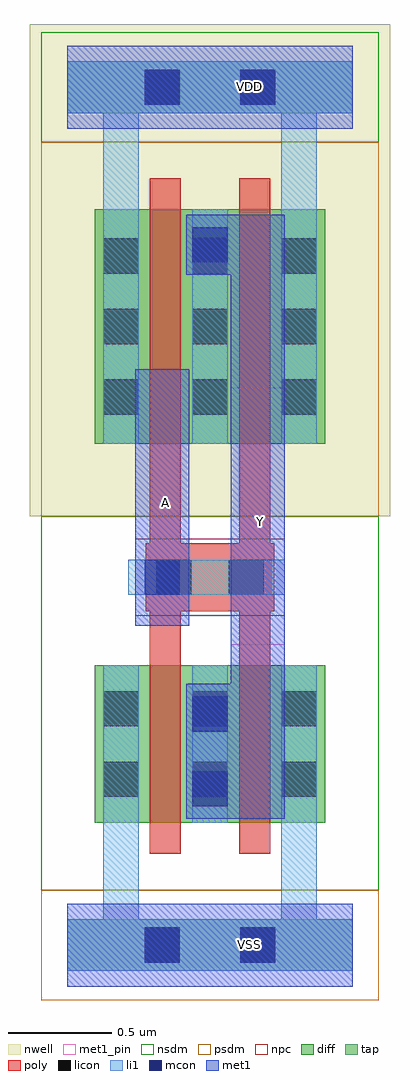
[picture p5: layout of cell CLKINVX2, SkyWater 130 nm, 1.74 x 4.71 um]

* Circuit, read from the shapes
.subckt CLKINVX2 A VDD VSS Y
XM1 Y A VSS VSS sky130_fd_pr__nfet_01v8 w=0.76 l=0.15 m=2
XM2 Y A VDD VDD sky130_fd_pr__pfet_01v8 w=1.13 l=0.15 m=2
.ends

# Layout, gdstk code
import gdstk
lib = gdstk.Library(unit=1e-6, precision=1e-09)
def R(c, l, rs):  # rectangles x0, y0, x1, y1
    for r in rs: c.add(gdstk.rectangle(r[:2], r[2:], *l))
def A(c, l, x, y, w, h, nx, ny, dx, dy):  # array of equal rectangles
    R(c, l, [(x+i*dx, y+j*dy, x+i*dx+w, y+j*dy+h) for i in range(nx) for j in range(ny)])
def P(c, l, *ps):  # polygons
    for p in ps: c.add(gdstk.Polygon(p, *l))
nwell = (64, 20)
diff = (65, 20)
tap = (65, 44)
poly = (66, 20)
licon = (66, 44)
li1 = (67, 20)
mcon = (67, 44)
met1_pin = (68, 16)
met1 = (68, 20)
nsdm = (93, 44)
psdm = (94, 20)
npc = (95, 20)

pyl1con_c_cdns_751554744 = lib.new_cell('PYL1CON_C_CDNS_751554744751')
R(pyl1con_c_cdns_751554744, poly, [(-0.135,-0.165,0.135,0.165)])
R(pyl1con_c_cdns_751554744, licon, [(-0.085,-0.085,0.085,0.085)])
R(pyl1con_c_cdns_751554744, npc, [(-0.185,-0.185,0.185,0.185)])

l1m1_c_cdns_751554744750 = lib.new_cell('L1M1_C_CDNS_751554744750$$7')
R(l1m1_c_cdns_751554744750, li1, [(-0.085,-0.345,0.085,0.345)])
R(l1m1_c_cdns_751554744750, mcon, [(-0.085,-0.265,0.085,-0.095), (-0.085,0.095,0.085,0.265)])
R(l1m1_c_cdns_751554744750, met1, [(-0.115,-0.325,0.115,0.325)])

c_l1m1_c_cdns_751554744750 = lib.new_cell('L1M1_C_CDNS_751554744750$$8')
R(c_l1m1_c_cdns_751554744750, li1, [(-0.085,-0.165,0.085,0.165)])
R(c_l1m1_c_cdns_751554744750, mcon, [(-0.085,-0.085,0.085,0.085)])
R(c_l1m1_c_cdns_751554744750, met1, [(-0.115,-0.145,0.115,0.145)])

c_l1m1_c_cdns_751554744750_ = lib.new_cell('L1M1_C_CDNS_751554744750$$9')
R(c_l1m1_c_cdns_751554744750_, li1, [(-0.165,-0.085,0.165,0.085)])
R(c_l1m1_c_cdns_751554744750_, mcon, [(-0.085,-0.085,0.085,0.085)])
R(c_l1m1_c_cdns_751554744750_, met1, [(-0.115,-0.145,0.115,0.145)])

clkinvx2 = lib.new_cell('CLKINVX2')
R(clkinvx2, nwell, [(-0.18,2.07,1.56,4.445)])
R(clkinvx2, diff, [(0.135,0.59,1.245,1.35), (0.135,2.42,1.245,3.55)])
P(clkinvx2, poly, [(1,1.94),(0.98,1.94),(0.98,3.7),(0.83,3.7),(0.83,1.94),(0.55,1.94),(0.55,3.7),(0.4,3.7),(0.4,1.94),(0.38,1.94),(0.38,1.61),(0.4,1.61),(0.4,0.44),(0.55,0.44),(0.55,1.61),(0.83,1.61),(0.83,0.44),(0.98,0.44),(0.98,1.61),(1,1.61)])
A(clkinvx2, licon, 0.175, 0.715, 0.17, 0.17, 3, 2, 0.43, 0.34)
A(clkinvx2, licon, 0.175, 2.56, 0.17, 0.17, 3, 3, 0.43, 0.34)
R(clkinvx2, licon, [(0.375,-0.085,0.545,0.085), (0.835,-0.085,1.005,0.085), (0.375,4.055,0.545,4.225), (0.835,4.055,1.005,4.225)])
R(clkinvx2, li1, [(0.605,0.59,0.775,1.35), (0.605,2.42,0.775,3.55)])
P(clkinvx2, li1, [(1.38,4.265),(0,4.265),(0,4.015),(0.175,4.015),(0.175,2.42),(0.345,2.42),(0.345,4.015),(1.035,4.015),(1.035,2.42),(1.205,2.42),(1.205,4.015),(1.38,4.015)],
  [(1.38,0.125),(1.205,0.125),(1.205,1.35),(1.035,1.35),(1.035,0.125),(0.345,0.125),(0.345,1.35),(0.175,1.35),(0.175,0.125),(0,0.125),(0,-0.125),(1.38,-0.125)])
R(clkinvx2, mcon, [(0.375,-0.085,0.545,0.085), (0.835,-0.085,1.005,0.085), (0.375,4.055,0.545,4.225), (0.835,4.055,1.005,4.225)])
R(clkinvx2, met1_pin, [(0.79,1.45,1.05,2.69), (0.33,1.54,0.59,2.78)])
R(clkinvx2, nsdm, [(-0.125,0.265,1.505,2.07), (-0.125,3.875,1.505,4.405)])
R(clkinvx2, psdm, [(-0.125,-0.265,1.505,0.265), (-0.125,2.07,1.505,3.875)])
clkinvx2.add(gdstk.FlexPath([(0.295,1.775),(1.05,1.775)], 0.17, ends="flush", simple_path=True, layer=67, datatype=20))  # li1
clkinvx2.add(gdstk.FlexPath([(0,4.14),(1.38,4.14)], 0.25, ends="flush", simple_path=True, layer=65, datatype=44))  # tap
clkinvx2.add(gdstk.FlexPath([(0,0),(1.38,0)], 0.25, ends="flush", simple_path=True, layer=65, datatype=44))  # tap
clkinvx2.add(gdstk.FlexPath([(0.92,0.61),(0.92,3.525)], 0.26, ends="flush", simple_path=True, layer=68, datatype=20))  # met1
clkinvx2.add(gdstk.FlexPath([(0.46,1.54),(0.46,2.78)], 0.26, ends="flush", simple_path=True, layer=68, datatype=20))  # met1
clkinvx2.add(gdstk.FlexPath([(0,4.14),(1.38,4.14)], 0.4, ends="flush", simple_path=True, layer=68, datatype=20))  # met1
clkinvx2.add(gdstk.FlexPath([(0,0),(1.38,0)], 0.4, ends="flush", simple_path=True, layer=68, datatype=20))  # met1
clkinvx2.add(gdstk.FlexPath([(0,0),(1.38,0)], 0.4, ends="flush", simple_path=True, layer=68, datatype=16))  # met1_pin
clkinvx2.add(gdstk.FlexPath([(0,4.14),(1.38,4.14)], 0.4, ends="flush", simple_path=True, layer=68, datatype=16))  # met1_pin
clkinvx2.add(gdstk.Reference(pyl1con_c_cdns_751554744, (0.865,1.775)))
clkinvx2.add(gdstk.Reference(pyl1con_c_cdns_751554744, (0.515,1.775)))
clkinvx2.add(gdstk.Reference(l1m1_c_cdns_751554744750, (0.69,0.935)))
clkinvx2.add(gdstk.Reference(c_l1m1_c_cdns_751554744750, (0.69,3.38)))
clkinvx2.add(gdstk.Reference(c_l1m1_c_cdns_751554744750_, (0.46,1.775), x_reflection=True))
clkinvx2.add(gdstk.Label('VSS', (0.88,0.005), layer=68, texttype=5))
clkinvx2.add(gdstk.Label('Y', (0.935,2.045), layer=68, texttype=5))
clkinvx2.add(gdstk.Label('A', (0.475,2.135), layer=68, texttype=5))
clkinvx2.add(gdstk.Label('VDD', (0.88,4.145), layer=68, texttype=5))

lib.write_gds('CLKINVX2.gds')
